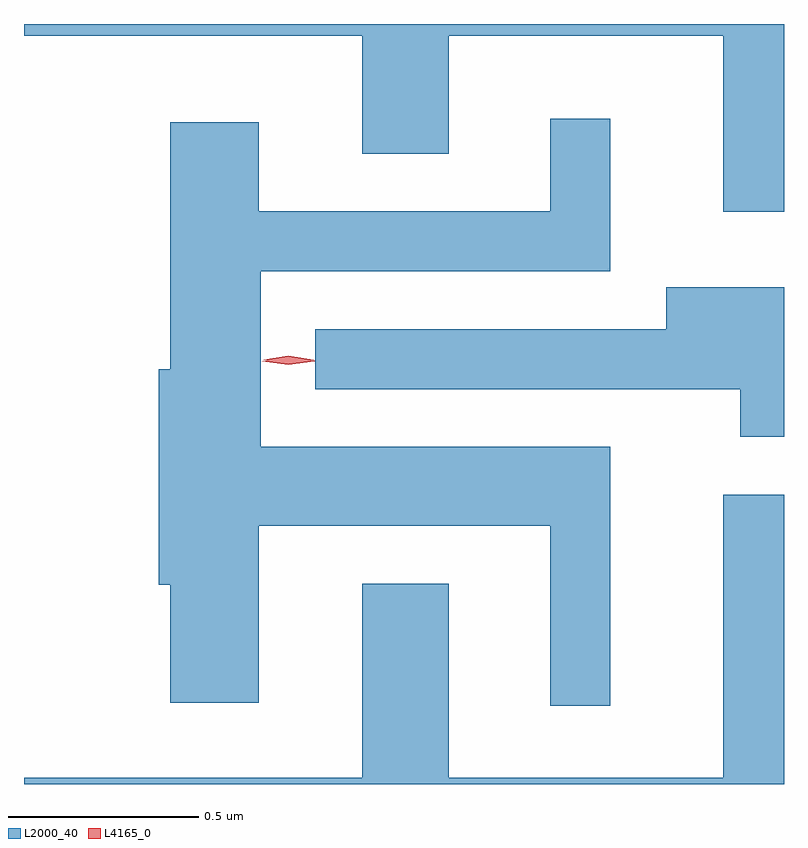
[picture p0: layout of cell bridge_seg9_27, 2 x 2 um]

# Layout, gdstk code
import gdstk
lib = gdstk.Library(unit=1e-6, precision=1e-09)
def P(c, l, *ps):  # polygons
    for p in ps: c.add(gdstk.Polygon(p, *l))
L2000_40 = (2000, 40)
L4165_0 = (4165, 0)

bridge_seg9_27 = lib.new_cell('bridge_seg9_27')
P(bridge_seg9_27, L2000_40, [(1540.031,2080.647),(1538.031,2080.647),(1538.031,2080.616),(1538.921,2080.616),(1538.921,2080.306),(1539.149,2080.306),(1539.149,2080.616),(1539.871,2080.616),(1539.871,2080.153),(1540.031,2080.153)],
  [(1539.574,2079.534),(1538.654,2079.534),(1538.654,2079.996),(1539.574,2079.996),(1539.574,2080.398),(1539.416,2080.398),(1539.416,2080.154),(1538.649,2080.154),(1538.649,2080.389),(1538.416,2080.389),(1538.416,2079.739),(1538.386,2079.739),(1538.386,2079.171),(1538.416,2079.171),(1538.416,2078.861),(1538.649,2078.861),(1538.649,2079.326),(1539.416,2079.326),(1539.416,2078.853),(1539.574,2078.853)],
  [(1540.031,2079.954),(1539.721,2079.954),(1539.721,2079.844),(1538.798,2079.844),(1538.798,2079.686),(1539.916,2079.686),(1539.916,2079.561),(1540.031,2079.561)],
  [(1540.031,2079.408),(1539.871,2079.408),(1539.871,2078.664),(1539.149,2078.664),(1539.149,2079.174),(1538.921,2079.174),(1538.921,2078.664),(1538.031,2078.664),(1538.031,2078.647),(1540.031,2078.647)])
P(bridge_seg9_27, L4165_0, [(1538.727,2079.754),(1538.662,2079.763),(1538.661,2079.764),(1538.662,2079.764),(1538.727,2079.774),(1538.792,2079.764),(1538.793,2079.764),(1538.792,2079.763)],
  [(1538.727,2079.75),(1538.658,2079.759),(1538.657,2079.76),(1538.658,2079.76),(1538.727,2079.77),(1538.796,2079.761),(1538.796,2079.76),(1538.796,2079.76)])

lib.write_gds('bridge_seg9_27.gds')
